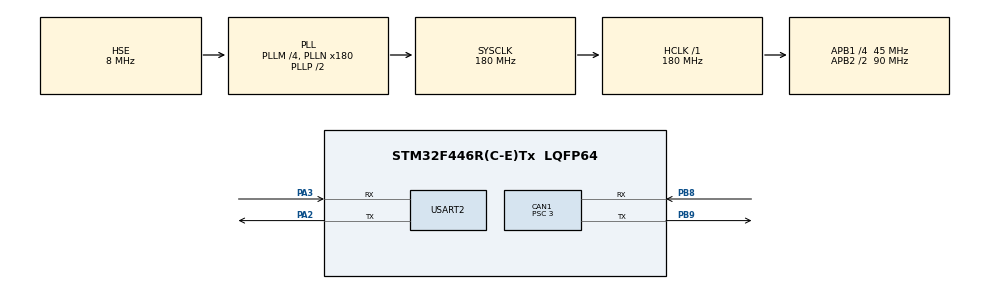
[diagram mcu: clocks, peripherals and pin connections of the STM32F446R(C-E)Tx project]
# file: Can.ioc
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CAN1.BS1=CAN_BS1_12TQ
CAN1.BS2=CAN_BS2_2TQ
CAN1.CalculateBaudRate=1000000
CAN1.CalculateTimeBit=1000
CAN1.CalculateTimeQuantum=66.66666666666666
CAN1.Prescaler=3
Mcu.Family=STM32F4
Mcu.Name=STM32F446R(C-E)Tx
Mcu.Package=LQFP64
NVIC.CAN1_RX0_IRQn=true\:0\:0\:false\:false\:true\:true\:true\:true
NVIC.PriorityGroup=NVIC_PRIORITYGROUP_4
PA13.Mode=Serial_Wire
PA13.Signal=SYS_JTMS-SWDIO
PA14.Mode=Serial_Wire
PA14.Signal=SYS_JTCK-SWCLK
PA2.Mode=Asynchronous
PA2.Signal=USART2_TX
PA3.Mode=Asynchronous
PA3.Signal=USART2_RX
PB8.GPIO_PuPd=GPIO_NOPULL
PB8.Mode=CAN_Activate
PB8.Signal=CAN1_RX
PB9.Mode=CAN_Activate
PB9.Signal=CAN1_TX
PH0-OSC_IN.Mode=HSE-External-Oscillator
PH0-OSC_IN.Signal=RCC_OSC_IN
PH1-OSC_OUT.Mode=HSE-External-Oscillator
PH1-OSC_OUT.Signal=RCC_OSC_OUT
ProjectManager.HeapSize=0x200
ProjectManager.StackSize=0x400
ProjectManager.TargetToolchain=CMake
RCC.AHBFreq_Value=180000000
RCC.APB1CLKDivider=RCC_HCLK_DIV4
RCC.APB1Freq_Value=45000000
RCC.APB1TimFreq_Value=90000000
RCC.APB2CLKDivider=RCC_HCLK_DIV2
RCC.APB2Freq_Value=90000000
RCC.APB2TimFreq_Value=180000000
RCC.CortexFreq_Value=180000000
RCC.HCLKFreq_Value=180000000
RCC.HSE_VALUE=8000000
RCC.PLLM=4
RCC.PLLN=180
RCC.PLLSourceVirtual=RCC_PLLSOURCE_HSE
RCC.SYSCLKFreq_VALUE=180000000
RCC.SYSCLKSource=RCC_SYSCLKSOURCE_PLLCLK
RCC.USBFreq_Value=180000000
RCC.VCOOutputFreq_Value=360000000
USART2.VirtualMode=VM_ASYNC
board=custom

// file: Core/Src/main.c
/* USER CODE BEGIN Header */
/**
  ******************************************************************************
  * @file           : main.c
  * @brief          : Main program body
  ******************************************************************************
  * @attention
  *
  * Copyright (c) 2026 STMicroelectronics.
  * All rights reserved.
  *
  * This software is licensed under terms that can be found in the LICENSE file
  * in the root directory of this software component.
  * If no LICENSE file comes with this software, it is provided AS-IS.
  *
  ******************************************************************************
  */
/* USER CODE END Header */
#include "main.h"
#include "can.h"
#include "usart.h"
#include "gpio.h"

/* USER CODE BEGIN Includes */
#include <stdio.h>
/* USER CODE END Includes */

void SystemClock_Config(void);

/* USER CODE BEGIN 0 */
CAN_TxHeaderTypeDef TxHeader;
CAN_RxHeaderTypeDef RxHeader;
uint32_t TxMailbox;
uint8_t TxData[8];
uint8_t RxData[8];

uint8_t count = 0;

// void HAL_CAN_RxFifo0MsgPendingCallback(CAN_HandleTypeDef *hcan)
// {
//   if (HAL_CAN_GetRxMessage(hcan, CAN_RX_FIFO0, &RxHeader, RxData) != HAL_OK)
//   {
//     Error_Handler();
//   }
//   if ((RxHeader.StdId == 0x103))
//   {
// 	  printf("Received: %d, %d\n", RxData[0], RxData[1]);
//   }
// }

void HAL_GPIO_EXTI_Callback(uint16_t GPIO_Pin){
	if (GPIO_Pin == GPIO_PIN_2){
		TxData[0] = 100;
		TxData[1] = 10;
		HAL_CAN_AddTxMessage(&hcan1, &TxHeader, TxData, &TxMailbox);
	}
}
/* USER CODE END 0 */

int main(void)
{

  /* MCU Configuration--------------------------------------------------------*/

  /* Reset of all peripherals, Initializes the Flash interface and the Systick. */
  HAL_Init();

  /* Configure the system clock */
  SystemClock_Config();

  /* Initialize all configured peripherals */
  MX_GPIO_Init();
  MX_CAN1_Init();
  MX_USART2_UART_Init();
  /* USER CODE BEGIN 2 */
  HAL_CAN_Start(&hcan1);

  // if (HAL_CAN_ActivateNotification(&hcan1, CAN_IT_RX_FIFO0_MSG_PENDING) != HAL_OK)
  // {
	//   Error_Handler();
  // }
  TxHeader.DLC = 8;
//  TxHeader.ExtId = 0;
  TxHeader.IDE = CAN_ID_EXT;
  TxHeader.RTR = CAN_RTR_DATA;
  TxHeader.StdId = 0x103;
  TxHeader.ExtId = 0x1FFFFFFF;
  /* USER CODE END 2 */

  /* Infinite loop */
  while (1)
  {

    /* USER CODE BEGIN 3 */
    TxData[0] = 100;
		TxData[1] = 10;
		HAL_CAN_AddTxMessage(&hcan1, &TxHeader, TxData, &TxMailbox);
    printf("Hello World %d\n\r", count++);
    HAL_Delay(1000);
  }
  /* USER CODE END 3 */
}

void SystemClock_Config(void)
{
  RCC_OscInitTypeDef RCC_OscInitStruct = {0};
  RCC_ClkInitTypeDef RCC_ClkInitStruct = {0};

  /** Configure the main internal regulator output voltage
  */
  __HAL_RCC_PWR_CLK_ENABLE();
  __HAL_PWR_VOLTAGESCALING_CONFIG(PWR_REGULATOR_VOLTAGE_SCALE1);

  /** Initializes the RCC Oscillators according to the specified parameters
  * in the RCC_OscInitTypeDef structure.
  */
  RCC_OscInitStruct.OscillatorType = RCC_OSCILLATORTYPE_HSE;
  RCC_OscInitStruct.HSEState = RCC_HSE_ON;
  RCC_OscInitStruct.PLL.PLLState = RCC_PLL_ON;
  RCC_OscInitStruct.PLL.PLLSource = RCC_PLLSOURCE_HSE;
  RCC_OscInitStruct.PLL.PLLM = 4;
  RCC_OscInitStruct.PLL.PLLN = 180;
  RCC_OscInitStruct.PLL.PLLP = RCC_PLLP_DIV2;
  RCC_OscInitStruct.PLL.PLLQ = 2;
  RCC_OscInitStruct.PLL.PLLR = 2;
  if (HAL_RCC_OscConfig(&RCC_OscInitStruct) != HAL_OK)
  {
    Error_Handler();
  }

  /** Activate the Over-Drive mode
  */
  if (HAL_PWREx_EnableOverDrive() != HAL_OK)
  {
    Error_Handler();
  }

  /** Initializes the CPU, AHB and APB buses clocks
  */
  RCC_ClkInitStruct.ClockType = RCC_CLOCKTYPE_HCLK|RCC_CLOCKTYPE_SYSCLK
                              |RCC_CLOCKTYPE_PCLK1|RCC_CLOCKTYPE_PCLK2;
  RCC_ClkInitStruct.SYSCLKSource = RCC_SYSCLKSOURCE_PLLCLK;
  RCC_ClkInitStruct.AHBCLKDivider = RCC_SYSCLK_DIV1;
  RCC_ClkInitStruct.APB1CLKDivider = RCC_HCLK_DIV4;
  RCC_ClkInitStruct.APB2CLKDivider = RCC_HCLK_DIV2;

  if (HAL_RCC_ClockConfig(&RCC_ClkInitStruct, FLASH_LATENCY_5) != HAL_OK)
  {
    Error_Handler();
  }
}

void Error_Handler(void)
{
  __disable_irq();
  while (1)
  {
  }
}
